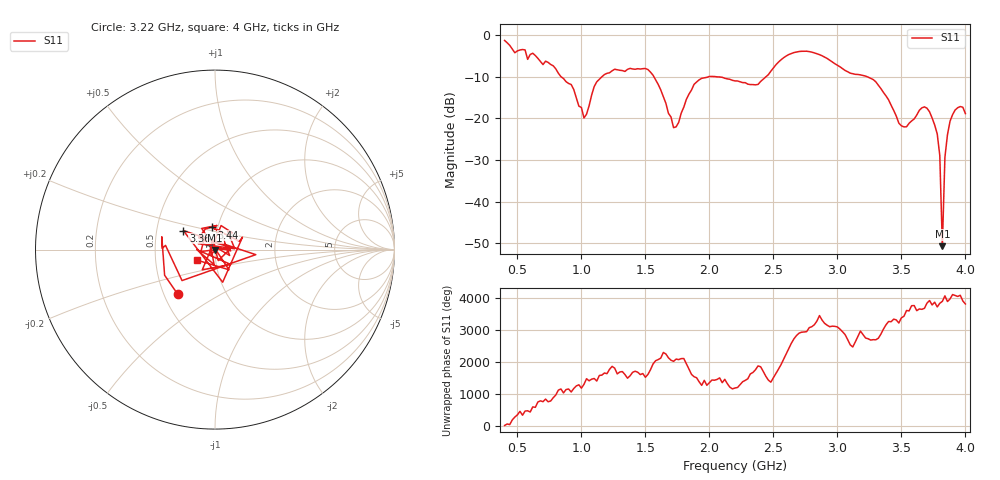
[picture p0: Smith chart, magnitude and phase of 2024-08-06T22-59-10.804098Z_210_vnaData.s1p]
!Created with skrf (http://scikit-rf.org).
# Hz S RI R 50.0
!freq ReS11 ImS11
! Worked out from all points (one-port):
!   181 points, 400 MHz to 4 GHz, reference 50 ohm
!   lowest |S11| = -50.8 dB at 3.82 GHz (marker M1), VSWR 1.01, Z = 50.1 - j0.269 ohm
!   |S11| at or under -10 dB: 1.568 GHz to 1.988 GHz (420 MHz wide, 23.6 % of centre); 2.082 GHz to 2.44 GHz (358.2 MHz wide, 15.8 % of centre); 3.237 GHz to end of sweep (the widest 3 of 4)
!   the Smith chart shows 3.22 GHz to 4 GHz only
!   S11 on the Smith chart (normalised r, x): 3.22 GHz: 0.59, -0.33; 3.36 GHz: 0.69, +0.15; 3.44 GHz: 0.93, +0.23; 4 GHz: 0.82, -0.10
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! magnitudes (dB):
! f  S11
! 400 MHz  -1.2
! 860 MHz  -10.4
! 920 MHz  -11.8
! 1.02 GHz  -19.9
! 1.12 GHz  -11.2
! 1.3 GHz  -8.4
! 1.52 GHz  -8.2
! 1.62 GHz  -13.1
! 1.72 GHz  -22.2
! 1.76 GHz  -20.9
! 1.92 GHz  -10.7
! 2.2 GHz  -10.9
! 2.38 GHz  -11.8
! 2.66 GHz  -4.1
! 3.1 GHz  -9.1
! 3.22 GHz  -9.8
! 3.36 GHz  -13.7
! 3.44 GHz  -18.1
! 3.5 GHz  -21.8
! 3.56 GHz  -21.2
! 3.68 GHz  -17.2
! 3.78 GHz  -23.7
! 3.8 GHz  -28.9
! 3.82 GHz  -50.8
! 3.84 GHz  -29.3
! 3.86 GHz  -23.9
! 3.92 GHz  -17.9
! 4 GHz  -18.8
